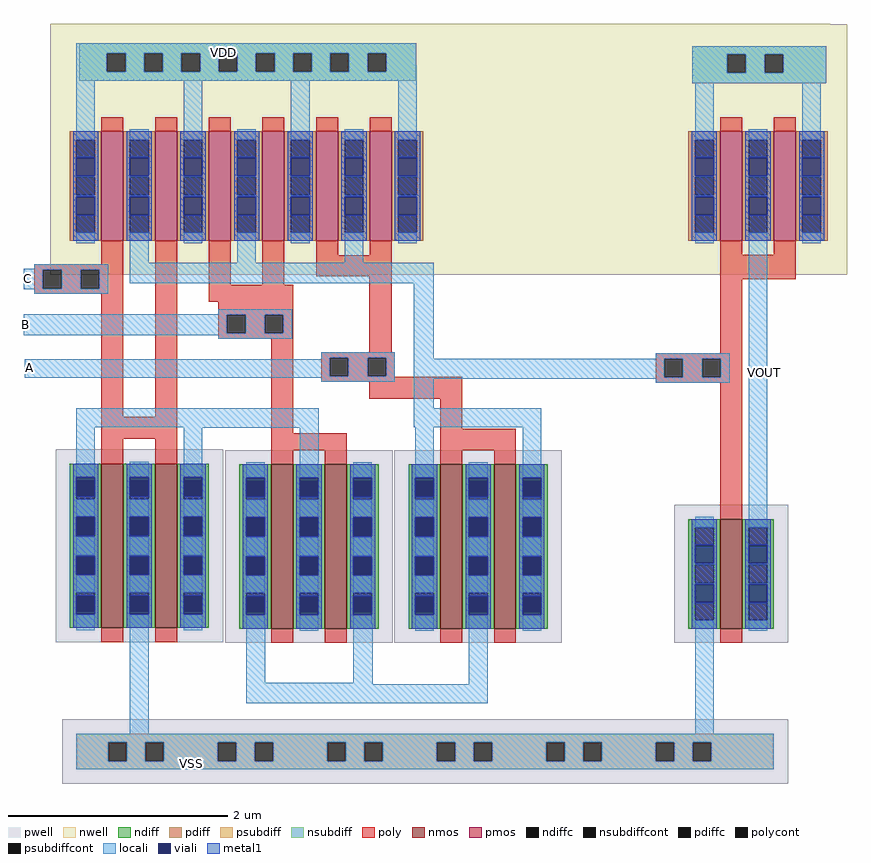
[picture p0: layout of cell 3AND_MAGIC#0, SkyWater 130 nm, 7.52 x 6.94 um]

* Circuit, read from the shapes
.subckt 3AND_MAGIC#0 A B C VDD VOUT VSS
XM1 VSS C n1 VSS sky130_fd_pr__nfet_01v8 w=1.5 l=0.2 m=2
XM2 n1 B n2 VSS sky130_fd_pr__nfet_01v8 w=1.5 l=0.2 m=2
XM3 n2 A n3 VSS sky130_fd_pr__nfet_01v8 w=1.5 l=0.2 m=2
XM4 VOUT n3 VSS VSS sky130_fd_pr__nfet_01v8 w=1 l=0.2
XM5 n3 C VDD VDD sky130_fd_pr__pfet_01v8 w=1 l=0.2 m=2
XM6 n3 B VDD VDD sky130_fd_pr__pfet_01v8 w=1 l=0.2 m=2
XM7 n3 A VDD VDD sky130_fd_pr__pfet_01v8 w=1 l=0.2 m=2
XM8 VOUT n3 VDD VDD sky130_fd_pr__pfet_01v8 w=1 l=0.2 m=2
.ends

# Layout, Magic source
magic
tech sky130A
magscale 1 2
<< nwell >>
rect 0 458 1425 459
rect 0 324 1456 458
rect 0 302 1425 324
rect 259 0 1425 302
<< pwell >>
rect 22 -929 1348 -812
<< psubdiff >>
rect 48 -854 1322 -838
rect 48 -888 106 -854
rect 140 -888 174 -854
rect 208 -888 306 -854
rect 340 -888 374 -854
rect 408 -888 506 -854
rect 540 -888 574 -854
rect 608 -888 706 -854
rect 740 -888 774 -854
rect 808 -888 906 -854
rect 940 -888 974 -854
rect 1008 -888 1106 -854
rect 1140 -888 1174 -854
rect 1208 -888 1322 -854
rect 48 -903 1322 -888
<< nsubdiff >>
rect 53 405 669 423
rect 53 371 104 405
rect 138 371 172 405
rect 206 371 240 405
rect 274 371 308 405
rect 342 371 376 405
rect 410 371 444 405
rect 478 371 512 405
rect 546 371 580 405
rect 614 371 669 405
rect 53 354 669 371
rect 1173 403 1418 417
rect 1173 369 1237 403
rect 1271 369 1305 403
rect 1339 369 1418 403
rect 1173 350 1418 369
<< psubdiffcont >>
rect 106 -888 140 -854
rect 174 -888 208 -854
rect 306 -888 340 -854
rect 374 -888 408 -854
rect 506 -888 540 -854
rect 574 -888 608 -854
rect 706 -888 740 -854
rect 774 -888 808 -854
rect 906 -888 940 -854
rect 974 -888 1008 -854
rect 1106 -888 1140 -854
rect 1174 -888 1208 -854
<< nsubdiffcont >>
rect 104 371 138 405
rect 172 371 206 405
rect 240 371 274 405
rect 308 371 342 405
rect 376 371 410 405
rect 444 371 478 405
rect 512 371 546 405
rect 580 371 614 405
rect 1237 369 1271 403
rect 1305 369 1339 403
<< poly >>
rect 94 19 134 41
rect -29 9 134 19
rect -29 -25 -13 9
rect 21 -25 56 9
rect 90 -25 134 9
rect -29 -35 134 -25
rect 94 -259 134 -35
rect 192 -259 232 41
rect 290 -18 330 36
rect 388 -18 428 36
rect 486 -3 624 36
rect 290 -49 444 -18
rect 307 -73 444 -49
rect 307 -107 323 -73
rect 357 -107 392 -73
rect 426 -107 444 -73
rect 307 -117 444 -107
rect 94 -299 232 -259
rect 94 -321 134 -299
rect 192 -321 232 -299
rect 404 -289 444 -117
rect 583 -141 624 -3
rect 1224 -8 1362 37
rect 495 -151 630 -141
rect 1224 -143 1264 -8
rect 495 -185 511 -151
rect 545 -185 580 -151
rect 614 -185 630 -151
rect 495 -186 630 -185
rect 1106 -153 1264 -143
rect 495 -195 753 -186
rect 583 -226 753 -195
rect 1106 -187 1122 -153
rect 1156 -187 1191 -153
rect 1225 -187 1264 -153
rect 1106 -197 1264 -187
rect 713 -281 753 -226
rect 404 -320 542 -289
rect 713 -320 851 -281
rect 404 -329 444 -320
rect 713 -324 753 -320
rect 1224 -427 1264 -197
<< polycont >>
rect -13 -25 21 9
rect 56 -25 90 9
rect 323 -107 357 -73
rect 392 -107 426 -73
rect 511 -185 545 -151
rect 580 -185 614 -151
rect 1122 -187 1156 -153
rect 1191 -187 1225 -153
<< locali >>
rect 48 405 669 423
rect 48 371 104 405
rect 138 371 172 405
rect 206 371 240 405
rect 274 371 308 405
rect 342 371 376 405
rect 410 371 444 405
rect 478 371 512 405
rect 546 371 580 405
rect 614 383 669 405
rect 1173 403 1418 417
rect 614 371 670 383
rect 48 354 670 371
rect 48 266 82 354
rect 244 266 278 354
rect 440 266 474 354
rect 636 266 670 354
rect 1173 369 1237 403
rect 1271 369 1305 403
rect 1339 369 1418 403
rect 1173 350 1418 369
rect 1178 266 1212 350
rect 1374 266 1408 350
rect 146 22 180 58
rect 342 22 376 60
rect 538 22 572 58
rect -29 11 106 19
rect -48 9 106 11
rect -48 -25 -13 9
rect 21 -25 56 9
rect 90 -25 106 9
rect 146 -15 701 22
rect -48 -26 106 -25
rect -29 -35 106 -26
rect 307 -72 442 -63
rect -48 -73 442 -72
rect -48 -107 323 -73
rect 357 -107 392 -73
rect 426 -107 442 -73
rect -48 -110 442 -107
rect 307 -117 442 -110
rect 495 -151 630 -141
rect 495 -154 511 -151
rect -46 -185 511 -154
rect 545 -185 580 -151
rect 614 -185 630 -151
rect -46 -188 630 -185
rect 495 -195 630 -188
rect 664 -153 701 -15
rect 1106 -153 1241 -143
rect 664 -187 1122 -153
rect 1156 -187 1191 -153
rect 1225 -187 1241 -153
rect 664 -190 1241 -187
rect 664 -244 701 -190
rect 1106 -197 1241 -190
rect 48 -278 491 -244
rect 664 -278 897 -244
rect 48 -341 82 -278
rect 244 -279 491 -278
rect 244 -341 278 -279
rect 456 -342 491 -279
rect 667 -342 701 -278
rect 863 -342 897 -278
rect 1276 -458 1310 62
rect 146 -838 180 -647
rect 358 -745 393 -641
rect 554 -745 589 -639
rect 358 -748 589 -745
rect 765 -748 799 -646
rect 358 -782 799 -748
rect 1178 -838 1212 -637
rect 48 -854 1322 -838
rect 48 -888 106 -854
rect 140 -888 174 -854
rect 208 -888 306 -854
rect 340 -888 374 -854
rect 408 -888 506 -854
rect 540 -888 574 -854
rect 608 -888 706 -854
rect 740 -888 774 -854
rect 808 -888 906 -854
rect 940 -888 974 -854
rect 1008 -888 1106 -854
rect 1140 -888 1174 -854
rect 1208 -888 1322 -854
rect 48 -903 1322 -888
use sky130_fd_pr__nfet_01v8_FQGQPX#0  sky130_fd_pr__nfet_01v8_FQGQPX_0
transform 1 0 212 0 1 -495
box -104 -176 104 176
use sky130_fd_pr__nfet_01v8_FQGQPX#0  sky130_fd_pr__nfet_01v8_FQGQPX_1
transform 1 0 114 0 1 -495
box -104 -176 104 176
use sky130_fd_pr__nfet_01v8_FQGQPX#0  sky130_fd_pr__nfet_01v8_FQGQPX_2
transform 1 0 424 0 1 -496
box -104 -176 104 176
use sky130_fd_pr__nfet_01v8_FQGQPX#0  sky130_fd_pr__nfet_01v8_FQGQPX_3
transform 1 0 522 0 1 -496
box -104 -176 104 176
use sky130_fd_pr__nfet_01v8_FQGQPX#0  sky130_fd_pr__nfet_01v8_FQGQPX_4
transform 1 0 733 0 1 -496
box -104 -176 104 176
use sky130_fd_pr__nfet_01v8_FQGQPX#0  sky130_fd_pr__nfet_01v8_FQGQPX_6
transform 1 0 831 0 1 -496
box -104 -176 104 176
use sky130_fd_pr__nfet_01v8_NUEGCF#0  sky130_fd_pr__nfet_01v8_NUEGCF_0
transform 1 0 1244 0 1 -546
box -104 -126 104 126
use sky130_fd_pr__pfet_01v8_ES6JQB#0  sky130_fd_pr__pfet_01v8_ES6JQB_0
transform 1 0 1342 0 1 162
box -114 -162 114 162
use sky130_fd_pr__pfet_01v8_ES6JQB#0  sky130_fd_pr__pfet_01v8_ES6JQB_1
transform 1 0 114 0 1 162
box -114 -162 114 162
use sky130_fd_pr__pfet_01v8_ES6JQB#0  sky130_fd_pr__pfet_01v8_ES6JQB_2
transform 1 0 212 0 1 162
box -114 -162 114 162
use sky130_fd_pr__pfet_01v8_ES6JQB#0  sky130_fd_pr__pfet_01v8_ES6JQB_3
transform 1 0 310 0 1 162
box -114 -162 114 162
use sky130_fd_pr__pfet_01v8_ES6JQB#0  sky130_fd_pr__pfet_01v8_ES6JQB_5
transform 1 0 506 0 1 162
box -114 -162 114 162
use sky130_fd_pr__pfet_01v8_ES6JQB#0  sky130_fd_pr__pfet_01v8_ES6JQB_6
transform 1 0 604 0 1 162
box -114 -162 114 162
use sky130_fd_pr__pfet_01v8_ES6JQB#0  sky130_fd_pr__pfet_01v8_ES6JQB_7
transform 1 0 1244 0 1 162
box -114 -162 114 162
use sky130_fd_pr__pfet_01v8_ES6JQB#0  sky130_fd_pr__pfet_01v8_ES6JQB_8
transform 1 0 408 0 1 162
box -114 -162 114 162
<< labels >>
flabel locali s 317 406 317 406 0 FreeSans 1000 0 0 0 VDD
flabel locali s 259 -893 259 -893 0 FreeSans 1000 0 0 0 VSS
flabel locali s -42 -7 -42 -7 0 FreeSans 600 0 0 0 C
flabel locali s -44 -91 -44 -91 0 FreeSans 600 0 0 0 B
flabel locali s -38 -170 -38 -170 0 FreeSans 600 0 0 0 A
flabel locali s 1305 -178 1305 -178 0 FreeSans 600 0 0 0 VOUT
<< end >>

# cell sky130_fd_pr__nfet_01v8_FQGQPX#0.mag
magic
tech sky130A
magscale 1 2
<< pwell >>
rect -104 -176 104 176
<< nmos >>
rect -20 -150 20 150
<< ndiff >>
rect -78 119 -20 150
rect -78 85 -66 119
rect -32 85 -20 119
rect -78 51 -20 85
rect -78 17 -66 51
rect -32 17 -20 51
rect -78 -17 -20 17
rect -78 -51 -66 -17
rect -32 -51 -20 -17
rect -78 -85 -20 -51
rect -78 -119 -66 -85
rect -32 -119 -20 -85
rect -78 -150 -20 -119
rect 20 119 78 150
rect 20 85 32 119
rect 66 85 78 119
rect 20 51 78 85
rect 20 17 32 51
rect 66 17 78 51
rect 20 -17 78 17
rect 20 -51 32 -17
rect 66 -51 78 -17
rect 20 -85 78 -51
rect 20 -119 32 -85
rect 66 -119 78 -85
rect 20 -150 78 -119
<< ndiffc >>
rect -66 85 -32 119
rect -66 17 -32 51
rect -66 -51 -32 -17
rect -66 -119 -32 -85
rect 32 85 66 119
rect 32 17 66 51
rect 32 -51 66 -17
rect 32 -119 66 -85
<< poly >>
rect -20 150 20 176
rect -20 -176 20 -150
<< locali >>
rect -66 125 -32 154
rect -66 53 -32 85
rect -66 -17 -32 17
rect -66 -85 -32 -53
rect -66 -154 -32 -125
rect 32 125 66 154
rect 32 53 66 85
rect 32 -17 66 17
rect 32 -85 66 -53
rect 32 -154 66 -125
<< viali >>
rect -66 119 -32 125
rect -66 91 -32 119
rect -66 51 -32 53
rect -66 19 -32 51
rect -66 -51 -32 -19
rect -66 -53 -32 -51
rect -66 -119 -32 -91
rect -66 -125 -32 -119
rect 32 119 66 125
rect 32 91 66 119
rect 32 51 66 53
rect 32 19 66 51
rect 32 -51 66 -19
rect 32 -53 66 -51
rect 32 -119 66 -91
rect 32 -125 66 -119
<< metal1 >>
rect -72 125 -26 150
rect -72 91 -66 125
rect -32 91 -26 125
rect -72 53 -26 91
rect -72 19 -66 53
rect -32 19 -26 53
rect -72 -19 -26 19
rect -72 -53 -66 -19
rect -32 -53 -26 -19
rect -72 -91 -26 -53
rect -72 -125 -66 -91
rect -32 -125 -26 -91
rect -72 -150 -26 -125
rect 26 125 72 150
rect 26 91 32 125
rect 66 91 72 125
rect 26 53 72 91
rect 26 19 32 53
rect 66 19 72 53
rect 26 -19 72 19
rect 26 -53 32 -19
rect 66 -53 72 -19
rect 26 -91 72 -53
rect 26 -125 32 -91
rect 66 -125 72 -91
rect 26 -150 72 -125
<< end >>

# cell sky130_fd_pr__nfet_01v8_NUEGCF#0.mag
magic
tech sky130A
magscale 1 2
<< pwell >>
rect -104 -126 104 126
<< nmos >>
rect -20 -100 20 100
<< ndiff >>
rect -78 85 -20 100
rect -78 51 -66 85
rect -32 51 -20 85
rect -78 17 -20 51
rect -78 -17 -66 17
rect -32 -17 -20 17
rect -78 -51 -20 -17
rect -78 -85 -66 -51
rect -32 -85 -20 -51
rect -78 -100 -20 -85
rect 20 85 78 100
rect 20 51 32 85
rect 66 51 78 85
rect 20 17 78 51
rect 20 -17 32 17
rect 66 -17 78 17
rect 20 -51 78 -17
rect 20 -85 32 -51
rect 66 -85 78 -51
rect 20 -100 78 -85
<< ndiffc >>
rect -66 51 -32 85
rect -66 -17 -32 17
rect -66 -85 -32 -51
rect 32 51 66 85
rect 32 -17 66 17
rect 32 -85 66 -51
<< poly >>
rect -20 100 20 126
rect -20 -126 20 -100
<< locali >>
rect -66 85 -32 104
rect -66 17 -32 19
rect -66 -19 -32 -17
rect -66 -104 -32 -85
rect 32 85 66 104
rect 32 17 66 19
rect 32 -19 66 -17
rect 32 -104 66 -85
<< viali >>
rect -66 51 -32 53
rect -66 19 -32 51
rect -66 -51 -32 -19
rect -66 -53 -32 -51
rect 32 51 66 53
rect 32 19 66 51
rect 32 -51 66 -19
rect 32 -53 66 -51
<< metal1 >>
rect -72 53 -26 100
rect -72 19 -66 53
rect -32 19 -26 53
rect -72 -19 -26 19
rect -72 -53 -66 -19
rect -32 -53 -26 -19
rect -72 -100 -26 -53
rect 26 53 72 100
rect 26 19 32 53
rect 66 19 72 53
rect 26 -19 72 19
rect 26 -53 32 -19
rect 66 -53 72 -19
rect 26 -100 72 -53
<< end >>

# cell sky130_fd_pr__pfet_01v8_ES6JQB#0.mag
magic
tech sky130A
magscale 1 2
<< nwell >>
rect -114 -162 114 162
<< pmos >>
rect -20 -100 20 100
<< pdiff >>
rect -78 85 -20 100
rect -78 51 -66 85
rect -32 51 -20 85
rect -78 17 -20 51
rect -78 -17 -66 17
rect -32 -17 -20 17
rect -78 -51 -20 -17
rect -78 -85 -66 -51
rect -32 -85 -20 -51
rect -78 -100 -20 -85
rect 20 85 78 100
rect 20 51 32 85
rect 66 51 78 85
rect 20 17 78 51
rect 20 -17 32 17
rect 66 -17 78 17
rect 20 -51 78 -17
rect 20 -85 32 -51
rect 66 -85 78 -51
rect 20 -100 78 -85
<< pdiffc >>
rect -66 51 -32 85
rect -66 -17 -32 17
rect -66 -85 -32 -51
rect 32 51 66 85
rect 32 -17 66 17
rect 32 -85 66 -51
<< poly >>
rect -20 100 20 126
rect -20 -126 20 -100
<< locali >>
rect -66 85 -32 104
rect -66 17 -32 19
rect -66 -19 -32 -17
rect -66 -104 -32 -85
rect 32 85 66 104
rect 32 17 66 19
rect 32 -19 66 -17
rect 32 -104 66 -85
<< viali >>
rect -66 51 -32 53
rect -66 19 -32 51
rect -66 -51 -32 -19
rect -66 -53 -32 -51
rect 32 51 66 53
rect 32 19 66 51
rect 32 -51 66 -19
rect 32 -53 66 -51
<< metal1 >>
rect -72 53 -26 100
rect -72 19 -66 53
rect -32 19 -26 53
rect -72 -19 -26 19
rect -72 -53 -66 -19
rect -32 -53 -26 -19
rect -72 -100 -26 -53
rect 26 53 72 100
rect 26 19 32 53
rect 66 19 72 53
rect 26 -19 72 19
rect 26 -53 32 -19
rect 66 -53 72 -19
rect 26 -100 72 -53
<< end >>
